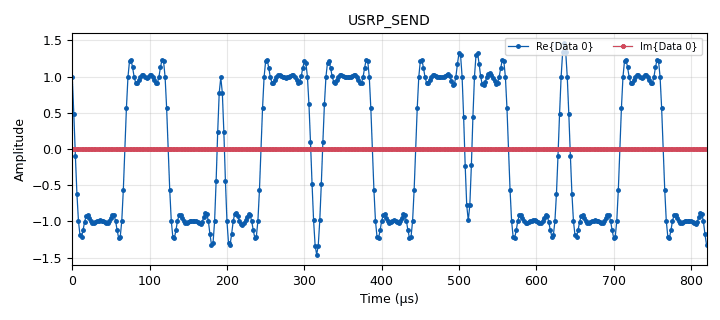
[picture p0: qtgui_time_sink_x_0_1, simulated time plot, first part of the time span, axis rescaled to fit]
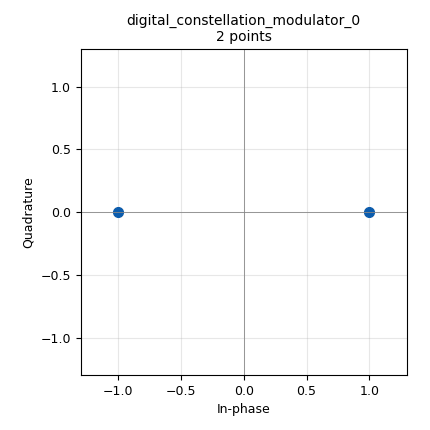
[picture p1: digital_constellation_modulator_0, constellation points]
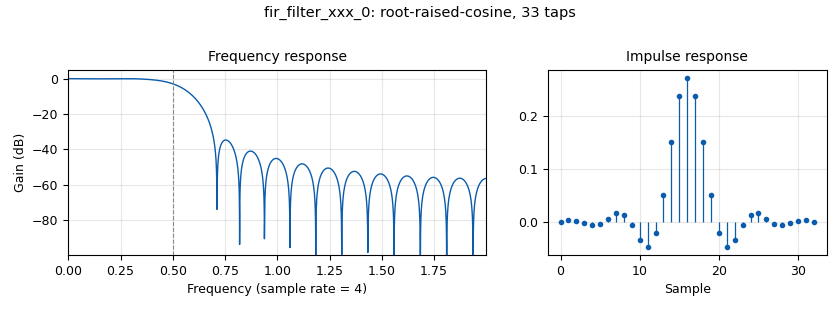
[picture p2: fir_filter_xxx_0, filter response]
<?xml version='1.0' encoding='utf-8'?>
<?grc format='1' created='3.7.10'?>
<flow_graph>
<block>
<key>options</key>
<param><key>id</key><value>top_block</value></param>
<param><key>generate_options</key><value>qt_gui</value></param>
</block>
<block>
<key>variable_constellation_rect</key>
<param><key>id</key><value>bpsk</value></param>
<param><key>const_points</key><value>[1+0j, -1+0j]</value></param>
<param><key>imag_sect</key><value>2</value></param>
<param><key>real_sect</key><value>2</value></param>
<param><key>rot_sym</key><value>4</value></param>
<param><key>sym_map</key><value>[0, 1]</value></param>
<param><key>w_imag_sect</key><value>1</value></param>
<param><key>w_real_sect</key><value>1</value></param>
</block>
<block>
<key>variable</key>
<param><key>id</key><value>excess_bw</value></param>
<param><key>value</key><value>0.35</value></param>
</block>
<block>
<key>variable</key>
<param><key>id</key><value>nfilts</value></param>
<param><key>value</key><value>32</value></param>
</block>
<block>
<key>variable_constellation_rect</key>
<param><key>id</key><value>qpsk</value></param>
<param><key>const_points</key><value>[1+1j,1-1j,-1+1j,-1-1j]</value></param>
<param><key>imag_sect</key><value>2</value></param>
<param><key>real_sect</key><value>2</value></param>
<param><key>rot_sym</key><value>4</value></param>
<param><key>sym_map</key><value>[0, 1, 2, 3]</value></param>
<param><key>w_imag_sect</key><value>1</value></param>
<param><key>w_real_sect</key><value>1</value></param>
</block>
<block>
<key>variable</key>
<param><key>id</key><value>rrc_taps</value></param>
<param><key>value</key><value>firdes.root_raised_cosine(1, sps, 1, excess_bw, nfilts)</value></param>
</block>
<block>
<key>variable</key>
<param><key>id</key><value>samp_rate</value></param>
<param><key>value</key><value>500e3</value></param>
</block>
<block>
<key>variable</key>
<param><key>id</key><value>sps</value></param>
<param><key>value</key><value>4</value></param>
</block>
<block>
<key>blocks_char_to_float</key>
<param><key>id</key><value>blocks_char_to_float_0</value></param>
<param><key>_enabled</key><value>0</value></param>
<param><key>scale</key><value>1</value></param>
</block>
<block>
<key>blocks_char_to_float</key>
<param><key>id</key><value>blocks_char_to_float_0_0</value></param>
<param><key>_enabled</key><value>0</value></param>
<param><key>scale</key><value>1</value></param>
</block>
<block>
<key>blocks_complex_to_float</key>
<param><key>id</key><value>blocks_complex_to_float_0_0</value></param>
<param><key>_enabled</key><value>0</value></param>
</block>
<block>
<key>blocks_complex_to_float</key>
<param><key>id</key><value>blocks_complex_to_float_0_0_0</value></param>
<param><key>_enabled</key><value>0</value></param>
</block>
<block>
<key>blocks_file_sink</key>
<param><key>id</key><value>blocks_file_sink_0</value></param>
<param><key>_enabled</key><value>0</value></param>
<param><key>file</key><value>/home/hanqing/DL-Wireless2/DL-Wireless/USRPs/usrp_re</value></param>
<param><key>type</key><value>complex</value></param>
</block>
<block>
<key>blocks_float_to_complex</key>
<param><key>id</key><value>blocks_float_to_complex_0_0</value></param>
<param><key>_enabled</key><value>0</value></param>
</block>
<block>
<key>blocks_float_to_complex</key>
<param><key>id</key><value>blocks_float_to_complex_0_0_0</value></param>
<param><key>_enabled</key><value>0</value></param>
</block>
<block>
<key>blocks_vector_source_x</key>
<param><key>id</key><value>blocks_vector_source_x_0</value></param>
<param><key>type</key><value>byte</value></param>
<param><key>repeat</key><value>True</value></param>
<param><key>vector</key><value>(1,2,3,4,5)</value></param>
</block>
<block>
<key>digital_constellation_modulator</key>
<param><key>id</key><value>digital_constellation_modulator_0</value></param>
<param><key>constellation</key><value>bpsk</value></param>
<param><key>differential</key><value>True</value></param>
<param><key>excess_bw</key><value>excess_bw</value></param>
<param><key>samples_per_symbol</key><value>sps</value></param>
</block>
<block>
<key>fir_filter_xxx</key>
<param><key>id</key><value>fir_filter_xxx_0</value></param>
<param><key>decim</key><value>1</value></param>
<param><key>taps</key><value>rrc_taps</value></param>
<param><key>type</key><value>ccc</value></param>
</block>
<block>
<key>fir_filter_xxx</key>
<param><key>id</key><value>fir_filter_xxx_0_0</value></param>
<param><key>decim</key><value>1</value></param>
<param><key>taps</key><value>rrc_taps</value></param>
<param><key>type</key><value>ccc</value></param>
</block>
<block>
<key>fractional_resampler_xx</key>
<param><key>id</key><value>fractional_resampler_xx_0</value></param>
<param><key>_enabled</key><value>0</value></param>
<param><key>phase_shift</key><value>0</value></param>
<param><key>resamp_ratio</key><value>4</value></param>
<param><key>type</key><value>complex</value></param>
</block>
<block>
<key>fractional_resampler_xx</key>
<param><key>id</key><value>fractional_resampler_xx_0_0</value></param>
<param><key>_enabled</key><value>0</value></param>
<param><key>phase_shift</key><value>0</value></param>
<param><key>resamp_ratio</key><value>4</value></param>
<param><key>type</key><value>complex</value></param>
</block>
<block>
<key>qtgui_time_sink_x</key>
<param><key>id</key><value>qtgui_time_sink_x_0</value></param>
<param><key>_enabled</key><value>0</value></param>
<param><key>color1</key><value>"blue"</value></param>
<param><key>label1</key><value></value></param>
<param><key>marker1</key><value>0</value></param>
<param><key>size</key><value>1024</value></param>
<param><key>srate</key><value>samp_rate</value></param>
<param><key>type</key><value>float</value></param>
</block>
<block>
<key>qtgui_time_sink_x</key>
<param><key>id</key><value>qtgui_time_sink_x_0_0</value></param>
<param><key>_enabled</key><value>0</value></param>
<param><key>color1</key><value>"blue"</value></param>
<param><key>label1</key><value></value></param>
<param><key>marker1</key><value>0</value></param>
<param><key>size</key><value>1024</value></param>
<param><key>srate</key><value>samp_rate</value></param>
<param><key>type</key><value>float</value></param>
</block>
<block>
<key>qtgui_time_sink_x</key>
<param><key>id</key><value>qtgui_time_sink_x_0_1</value></param>
<param><key>color1</key><value>"blue"</value></param>
<param><key>label1</key><value></value></param>
<param><key>marker1</key><value>0</value></param>
<param><key>color2</key><value>"red"</value></param>
<param><key>label2</key><value></value></param>
<param><key>marker2</key><value>0</value></param>
<param><key>name</key><value>"USRP_SEND"</value></param>
<param><key>size</key><value>1024</value></param>
<param><key>srate</key><value>samp_rate</value></param>
<param><key>type</key><value>complex</value></param>
</block>
<block>
<key>qtgui_time_sink_x</key>
<param><key>id</key><value>qtgui_time_sink_x_0_1_0</value></param>
<param><key>entags</key><value>False</value></param>
<param><key>gui_hint</key><value>1,0,1,1</value></param>
<param><key>color1</key><value>"blue"</value></param>
<param><key>label1</key><value></value></param>
<param><key>marker1</key><value>0</value></param>
<param><key>color2</key><value>"red"</value></param>
<param><key>label2</key><value></value></param>
<param><key>marker2</key><value>0</value></param>
<param><key>name</key><value>"USRP_Receive"</value></param>
<param><key>size</key><value>1024</value></param>
<param><key>srate</key><value>samp_rate</value></param>
<param><key>type</key><value>complex</value></param>
</block>
<block>
<key>tutorial_my_qpsk_demod_cb</key>
<param><key>id</key><value>tutorial_my_qpsk_demod_cb_0</value></param>
<param><key>_enabled</key><value>0</value></param>
<param><key>gray_code</key><value>True</value></param>
</block>
<block>
<key>tutorial_my_qpsk_demod_cb</key>
<param><key>id</key><value>tutorial_my_qpsk_demod_cb_0_0</value></param>
<param><key>_enabled</key><value>0</value></param>
<param><key>gray_code</key><value>True</value></param>
</block>
<block>
<key>uhd_usrp_sink</key>
<param><key>id</key><value>uhd_usrp_sink_0</value></param>
<param><key>ant0</key><value>TX/RX</value></param>
<param><key>center_freq0</key><value>2.5e9</value></param>
<param><key>norm_gain0</key><value>False</value></param>
<param><key>gain0</key><value>50</value></param>
<param><key>clock_rate</key><value>0.0</value></param>
<param><key>dev_addr</key><value>"addr=192.168.10.2"</value></param>
<param><key>dev_args</key><value>""</value></param>
<param><key>type</key><value>fc32</value></param>
<param><key>sd_spec0</key><value>A:0</value></param>
<param><key>samp_rate</key><value>samp_rate</value></param>
<param><key>hide_cmd_port</key><value>False</value></param>
<param><key>hide_lo_controls</key><value>True</value></param>
<param><key>sync</key><value>pc_clock</value></param>
<param><key>len_tag_name</key><value></value></param>
</block>
<block>
<key>uhd_usrp_source</key>
<param><key>id</key><value>uhd_usrp_source_0</value></param>
<param><key>ant0</key><value>RX2</value></param>
<param><key>center_freq0</key><value>2.5e9</value></param>
<param><key>dc_offs_enb0</key><value>""</value></param>
<param><key>iq_imbal_enb0</key><value>""</value></param>
<param><key>norm_gain0</key><value>False</value></param>
<param><key>gain0</key><value>50</value></param>
<param><key>clock_rate</key><value>0.0</value></param>
<param><key>dev_addr</key><value>"addr=192.168.10.2"</value></param>
<param><key>dev_args</key><value>""</value></param>
<param><key>sd_spec0</key><value>B:0</value></param>
<param><key>type</key><value>fc32</value></param>
<param><key>samp_rate</key><value>samp_rate</value></param>
<param><key>hide_cmd_port</key><value>False</value></param>
<param><key>hide_lo_controls</key><value>True</value></param>
<param><key>sync</key><value>pc_clock</value></param>
</block>
<block>
<key>virtual_sink</key>
<param><key>id</key><value>virtual_sink_0</value></param>
<param><key>stream_id</key><value>1</value></param>
</block>
<block>
<key>virtual_source</key>
<param><key>id</key><value>virtual_source_0</value></param>
<param><key>stream_id</key><value>1</value></param>
</block>
<connection><source_block_id>blocks_char_to_float_0</source_block_id><sink_block_id>qtgui_time_sink_x_0</sink_block_id><source_key>0</source_key><sink_key>0</sink_key></connection>
<connection><source_block_id>blocks_char_to_float_0_0</source_block_id><sink_block_id>qtgui_time_sink_x_0_0</sink_block_id><source_key>0</source_key><sink_key>0</sink_key></connection>
<connection><source_block_id>blocks_complex_to_float_0_0</source_block_id><sink_block_id>blocks_float_to_complex_0_0</sink_block_id><source_key>1</source_key><sink_key>0</sink_key></connection>
<connection><source_block_id>blocks_complex_to_float_0_0</source_block_id><sink_block_id>blocks_float_to_complex_0_0</sink_block_id><source_key>0</source_key><sink_key>1</sink_key></connection>
<connection><source_block_id>blocks_complex_to_float_0_0_0</source_block_id><sink_block_id>blocks_float_to_complex_0_0_0</sink_block_id><source_key>1</source_key><sink_key>0</sink_key></connection>
<connection><source_block_id>blocks_complex_to_float_0_0_0</source_block_id><sink_block_id>blocks_float_to_complex_0_0_0</sink_block_id><source_key>0</source_key><sink_key>1</sink_key></connection>
<connection><source_block_id>blocks_float_to_complex_0_0</source_block_id><sink_block_id>tutorial_my_qpsk_demod_cb_0_0</sink_block_id><source_key>0</source_key><sink_key>0</sink_key></connection>
<connection><source_block_id>blocks_float_to_complex_0_0_0</source_block_id><sink_block_id>tutorial_my_qpsk_demod_cb_0</sink_block_id><source_key>0</source_key><sink_key>0</sink_key></connection>
<connection><source_block_id>blocks_vector_source_x_0</source_block_id><sink_block_id>digital_constellation_modulator_0</sink_block_id><source_key>0</source_key><sink_key>0</sink_key></connection>
<connection><source_block_id>digital_constellation_modulator_0</source_block_id><sink_block_id>uhd_usrp_sink_0</sink_block_id><source_key>0</source_key><sink_key>0</sink_key></connection>
<connection><source_block_id>digital_constellation_modulator_0</source_block_id><sink_block_id>virtual_sink_0</sink_block_id><source_key>0</source_key><sink_key>0</sink_key></connection>
<connection><source_block_id>fir_filter_xxx_0</source_block_id><sink_block_id>fractional_resampler_xx_0</sink_block_id><source_key>0</source_key><sink_key>0</sink_key></connection>
<connection><source_block_id>fir_filter_xxx_0</source_block_id><sink_block_id>qtgui_time_sink_x_0_1_0</sink_block_id><source_key>0</source_key><sink_key>0</sink_key></connection>
<connection><source_block_id>fir_filter_xxx_0_0</source_block_id><sink_block_id>fractional_resampler_xx_0_0</sink_block_id><source_key>0</source_key><sink_key>0</sink_key></connection>
<connection><source_block_id>fir_filter_xxx_0_0</source_block_id><sink_block_id>qtgui_time_sink_x_0_1</sink_block_id><source_key>0</source_key><sink_key>0</sink_key></connection>
<connection><source_block_id>fractional_resampler_xx_0</source_block_id><sink_block_id>blocks_complex_to_float_0_0_0</sink_block_id><source_key>0</source_key><sink_key>0</sink_key></connection>
<connection><source_block_id>fractional_resampler_xx_0_0</source_block_id><sink_block_id>blocks_complex_to_float_0_0</sink_block_id><source_key>0</source_key><sink_key>0</sink_key></connection>
<connection><source_block_id>fractional_resampler_xx_0_0</source_block_id><sink_block_id>qtgui_time_sink_x_0_1</sink_block_id><source_key>0</source_key><sink_key>0</sink_key></connection>
<connection><source_block_id>tutorial_my_qpsk_demod_cb_0</source_block_id><sink_block_id>blocks_char_to_float_0</sink_block_id><source_key>0</source_key><sink_key>0</sink_key></connection>
<connection><source_block_id>tutorial_my_qpsk_demod_cb_0_0</source_block_id><sink_block_id>blocks_char_to_float_0_0</sink_block_id><source_key>0</source_key><sink_key>0</sink_key></connection>
<connection><source_block_id>uhd_usrp_source_0</source_block_id><sink_block_id>fir_filter_xxx_0</sink_block_id><source_key>0</source_key><sink_key>0</sink_key></connection>
<connection><source_block_id>virtual_source_0</source_block_id><sink_block_id>fir_filter_xxx_0_0</sink_block_id><source_key>0</source_key><sink_key>0</sink_key></connection>
</flow_graph>
